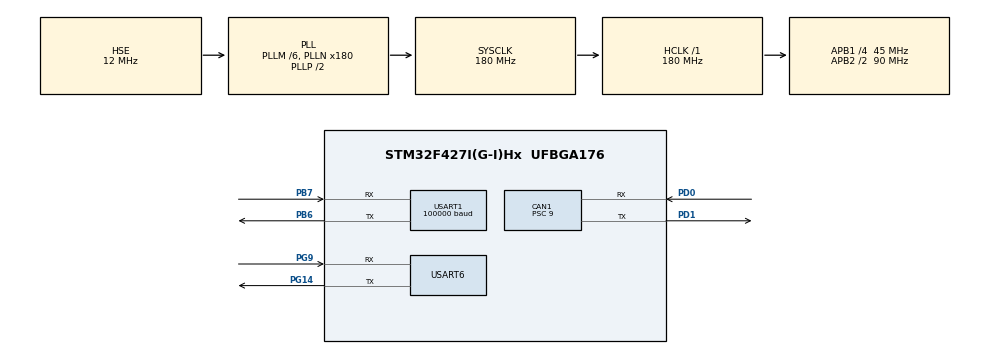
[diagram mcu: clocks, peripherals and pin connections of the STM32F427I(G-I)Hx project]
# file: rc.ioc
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CAN1.BS1=CAN_BS1_3TQ
CAN1.CalculateBaudRate=1000000
CAN1.CalculateTimeBit=1000.00
CAN1.CalculateTimeQuantum=200.0
CAN1.Prescaler=9
Dma.Request0=USART1_RX
Dma.USART1_RX.0.Direction=DMA_PERIPH_TO_MEMORY
Dma.USART1_RX.0.FIFOMode=DMA_FIFOMODE_DISABLE
Dma.USART1_RX.0.Instance=DMA2_Stream2
Dma.USART1_RX.0.MemDataAlignment=DMA_MDATAALIGN_BYTE
Dma.USART1_RX.0.MemInc=DMA_MINC_ENABLE
Dma.USART1_RX.0.Mode=DMA_NORMAL
Dma.USART1_RX.0.PeriphDataAlignment=DMA_PDATAALIGN_BYTE
Dma.USART1_RX.0.PeriphInc=DMA_PINC_DISABLE
Dma.USART1_RX.0.Priority=DMA_PRIORITY_LOW
Mcu.Family=STM32F4
Mcu.Name=STM32F427I(G-I)Hx
Mcu.Package=UFBGA176
NVIC.CAN1_RX0_IRQn=true\:0\:0\:false\:false\:true\:true\:true
NVIC.DMA2_Stream2_IRQn=true\:0\:0\:false\:false\:true\:false\:true
NVIC.PriorityGroup=NVIC_PRIORITYGROUP_4
NVIC.USART1_IRQn=true\:0\:0\:false\:false\:true\:true\:true
NVIC.USART6_IRQn=true\:0\:0\:false\:false\:true\:true\:true
PA13.Mode=Serial_Wire
PA13.Signal=SYS_JTMS-SWDIO
PA14.Mode=Serial_Wire
PA14.Signal=SYS_JTCK-SWCLK
PB6.Mode=Asynchronous
PB6.Signal=USART1_TX
PB7.Mode=Asynchronous
PB7.Signal=USART1_RX
PD0.Mode=CAN_Activate
PD0.Signal=CAN1_RX
PD1.Mode=CAN_Activate
PD1.Signal=CAN1_TX
PG14.Mode=Asynchronous
PG14.Signal=USART6_TX
PG9.Mode=Asynchronous
PG9.Signal=USART6_RX
PH0/OSC_IN.Mode=HSE-External-Oscillator
PH0/OSC_IN.Signal=RCC_OSC_IN
PH1/OSC_OUT.Mode=HSE-External-Oscillator
PH1/OSC_OUT.Signal=RCC_OSC_OUT
ProjectManager.HeapSize=0x200
ProjectManager.StackSize=0x400
ProjectManager.TargetToolchain=MDK-ARM V5.27
RCC.48MHZClocksFreq_Value=90000000
RCC.AHBFreq_Value=180000000
RCC.APB1CLKDivider=RCC_HCLK_DIV4
RCC.APB1Freq_Value=45000000
RCC.APB1TimFreq_Value=90000000
RCC.APB2CLKDivider=RCC_HCLK_DIV2
RCC.APB2Freq_Value=90000000
RCC.APB2TimFreq_Value=180000000
RCC.CortexFreq_Value=180000000
RCC.HCLKFreq_Value=180000000
RCC.HSE_VALUE=12000000
RCC.HSI_VALUE=16000000
RCC.LSE_VALUE=32768
RCC.PLLM=6
RCC.PLLN=180
RCC.PLLSourceVirtual=RCC_PLLSOURCE_HSE
RCC.SYSCLKFreq_VALUE=180000000
RCC.SYSCLKSource=RCC_SYSCLKSOURCE_PLLCLK
RCC.VCOOutputFreq_Value=360000000
USART1.BaudRate=100000
USART1.Parity=PARITY_EVEN
USART1.VirtualMode=VM_ASYNC
USART1.WordLength=WORDLENGTH_9B
USART6.VirtualMode=VM_ASYNC
board=custom

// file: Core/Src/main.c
/* USER CODE BEGIN Header */
/**
  ******************************************************************************
  * @file           : main.c
  * @brief          : Main program body
  ******************************************************************************
  * @attention
  *
  * <h2><center>&copy; Copyright (c) 2021 STMicroelectronics.
  * All rights reserved.</center></h2>
  *
  * This software component is licensed by ST under BSD 3-Clause license,
  * the "License"; You may not use this file except in compliance with the
  * License. You may obtain a copy of the License at:
  *                        opensource.org/licenses/BSD-3-Clause
  *
  ******************************************************************************
  */
/* USER CODE END Header */
#include "main.h"
#include "can.h"
#include "dma.h"
#include "usart.h"
#include "gpio.h"

/* USER CODE BEGIN Includes */
#include "pid.h"
#include "math.h"
#include "stdlib.h"
#include "stdio.h"

/* USER CODE END Includes */

/* USER CODE BEGIN PV */

int Angle_P = 5630, T_Speed = 0;

RC_Ctl_t RC_CtrlData = {
	.rc = {
		.ch1 = 1024,
		.ch0 = 1024,
		.ch2 = 1024,
	}
};

fp32 speed_pid_parameters1[] = {13,1,0};
fp32 speed_pid_parameters2[] = {13,1,0};
fp32 speed_pid_parameters3[] = {13,1,0};
fp32 speed_pid_parameters4[] = {13,1,0};
fp32 angle_pid_parametersx[] = {0.5,0,0.05};//ң������6020����PID
fp32 speed_pid_parametersx[] = {190,10,0};//ң������6020����PID
fp32 angle_pid_parameters_a[] = {10,0,0};//6020�͵��̽ǶȻ�
																				//���ܸ�����������һֱ��ƫ��Ȼ��һֱת

uint8_t receive_buff[255];
uint32_t uw_Tick;
RC rc_move;
int16_t Output1,Output2,Output3,Output4,s1,s2,s3,s4;

/* USER CODE END PV */

void SystemClock_Config(void);

int main(void)
{
  /* USER CODE BEGIN 1 */
	s1 = (RC_CtrlData.rc.ch0-1024)*2 * 3 +(RC_CtrlData.rc.ch1-1024)*2 * 3;
	s2 = (RC_CtrlData.rc.ch0-1024)*2 * -3 +(RC_CtrlData.rc.ch1-1024)*2 * 3;
	s3 = (RC_CtrlData.rc.ch0-1024)*2 * -3 +(RC_CtrlData.rc.ch1-1024)*2 * -3;
	s4 = (RC_CtrlData.rc.ch0-1024)*2 * 3 +(RC_CtrlData.rc.ch1-1024)*2 * -3;
  /* USER CODE END 1 */

  /* MCU Configuration--------------------------------------------------------*/

  /* Reset of all peripherals, Initializes the Flash interface and the Systick. */
  HAL_Init();

  /* Configure the system clock */
  SystemClock_Config();

  /* Initialize all configured peripherals */
  MX_GPIO_Init();
  MX_DMA_Init();
  MX_USART1_UART_Init();
  MX_CAN1_Init();
  MX_USART6_UART_Init();
  /* USER CODE BEGIN 2 */
	uw_Tick = HAL_GetTick();
	Pid_Init();
	USER_CAN_Start();
	__HAL_UART_ENABLE_IT(&huart1, UART_IT_IDLE);
	HAL_UART_Receive_DMA(&huart1, (uint8_t*)receive_buff, 255);

  /* USER CODE END 2 */

  /* Infinite loop */
  while (1)
  {

    /* USER CODE BEGIN 3 */
		slope();
		Motor_Begin();
		pid();
		PID_Calc(&angle_pid, motor_x.MechDegree, (1024 - RC_CtrlData.rc.ch2) + 5630);
		//PID_Calc(&Angle_pid, motor_y.MechDegree, Angle_Y);
		//criticality();//�Ƕ��ٽ�
	  PID_Calc(&speed_pid, motor_x.Speed, angle_pid.out);
		//PID_Calc(&Speed_pid, motor_y.Speed, Angle_pid.out);
		if(HAL_GetTick() - uw_Tick > 50)//���ң��������80ms��ֵ��ʼֵ
		{
			RC_CtrlData.rc.ch0 = 1024;
			RC_CtrlData.rc.ch1 = 1024;
			RC_CtrlData.rc.ch2 = 1024;
		}
		GM_SetCurrent(0x1FF,speed_pid.out,0,0,0);
		PID_Calc(&a_pid, motor_x.MechDegree, Angle_P);
		GM_SetCurrent(0x200,Output1,Output2,Output3,Output4);
		//PID_Calc(&s_pid, motor_x.Speed, 0);
		//GM_SetCurrent(0x1FF,s_pid.out,0,0,0);
		printf("%f,%f,%f,%f,%f,%f\n",(double)motor_1.Speed,(double)motor_2.Speed,(double)motor_3.Speed,
						(double)motor_4.Speed,(double)T_Speed,(double)motor_x.MechDegree);
		HAL_Delay(1);
  }
  /* USER CODE END 3 */
}

void SystemClock_Config(void)
{
  RCC_OscInitTypeDef RCC_OscInitStruct = {0};
  RCC_ClkInitTypeDef RCC_ClkInitStruct = {0};

  /** Configure the main internal regulator output voltage
  */
  __HAL_RCC_PWR_CLK_ENABLE();
  __HAL_PWR_VOLTAGESCALING_CONFIG(PWR_REGULATOR_VOLTAGE_SCALE1);
  /** Initializes the RCC Oscillators according to the specified parameters
  * in the RCC_OscInitTypeDef structure.
  */
  RCC_OscInitStruct.OscillatorType = RCC_OSCILLATORTYPE_HSE;
  RCC_OscInitStruct.HSEState = RCC_HSE_ON;
  RCC_OscInitStruct.PLL.PLLState = RCC_PLL_ON;
  RCC_OscInitStruct.PLL.PLLSource = RCC_PLLSOURCE_HSE;
  RCC_OscInitStruct.PLL.PLLM = 6;
  RCC_OscInitStruct.PLL.PLLN = 180;
  RCC_OscInitStruct.PLL.PLLP = RCC_PLLP_DIV2;
  RCC_OscInitStruct.PLL.PLLQ = 4;
  if (HAL_RCC_OscConfig(&RCC_OscInitStruct) != HAL_OK)
  {
    Error_Handler();
  }
  /** Activate the Over-Drive mode
  */
  if (HAL_PWREx_EnableOverDrive() != HAL_OK)
  {
    Error_Handler();
  }
  /** Initializes the CPU, AHB and APB buses clocks
  */
  RCC_ClkInitStruct.ClockType = RCC_CLOCKTYPE_HCLK|RCC_CLOCKTYPE_SYSCLK
                              |RCC_CLOCKTYPE_PCLK1|RCC_CLOCKTYPE_PCLK2;
  RCC_ClkInitStruct.SYSCLKSource = RCC_SYSCLKSOURCE_PLLCLK;
  RCC_ClkInitStruct.AHBCLKDivider = RCC_SYSCLK_DIV1;
  RCC_ClkInitStruct.APB1CLKDivider = RCC_HCLK_DIV4;
  RCC_ClkInitStruct.APB2CLKDivider = RCC_HCLK_DIV2;

  if (HAL_RCC_ClockConfig(&RCC_ClkInitStruct, FLASH_LATENCY_5) != HAL_OK)
  {
    Error_Handler();
  }
}

/* USER CODE BEGIN 4 */
void Motor_Begin()
{
	rc_move.motor1 = s1 + a_pid.out;
	rc_move.motor2 = s2 + a_pid.out;
	rc_move.motor3 = s3 + a_pid.out;
	rc_move.motor4 = s4 + a_pid.out;
  //rc_move.motor1 = s1 + (RC_CtrlData.rc.ch2-1024) * 3;
	//rc_move.motor2 = s1 + (RC_CtrlData.rc.ch2-1024) * 3;
	//rc_move.motor3 = s3 + (RC_CtrlData.rc.ch2-1024) * 3;
	//rc_move.motor4 = s4 + (RC_CtrlData.rc.ch2-1024) * 3;
}
void criticality()
{
	if(Angle_P - motor_x.MechDegree > 4096)
		 {
			 angle_pid.out = Angle_P - motor_x.MechDegree - 8192;
		 }
		 else if (Angle_P - motor_x.MechDegree < -4096)
		 {
				 angle_pid.out = Angle_P - motor_x.MechDegree + 8192;
		 }
		 else
		 {
				 angle_pid.out = Angle_P - motor_x.MechDegree ;
		 }
}
void slope()
{
	//����
	if(s1 - ((RC_CtrlData.rc.ch0-1024)*2 * 3 +(RC_CtrlData.rc.ch1-1024)*2 * 3) < 0)
	{
		if(s1 - ((RC_CtrlData.rc.ch0-1024)*2 * 3 +(RC_CtrlData.rc.ch1-1024)*2 * 3) >= -80)
		{
			s1 = (RC_CtrlData.rc.ch0-1024)*2 * 3 +(RC_CtrlData.rc.ch1-1024)*2 * 3;
		}
		else
		{
			s1 += 80;
		}
	}
	if(s1 - ((RC_CtrlData.rc.ch0-1024)*2 * 3 +(RC_CtrlData.rc.ch1-1024)*2 * 3) > 0)
	{
		if(s1 - ((RC_CtrlData.rc.ch0-1024)*2 * 3 +(RC_CtrlData.rc.ch1-1024)*2 * 3) <= 80)
		{
			s1 = (RC_CtrlData.rc.ch0-1024)*2 * 3 +(RC_CtrlData.rc.ch1-1024)*2 * 3;
		}
		else
		{
			s1 -= 80;
		}
	}
	if(s2 - ((RC_CtrlData.rc.ch0-1024)*2 * -3 +(RC_CtrlData.rc.ch1-1024)*2 * 3) < 0)
	{
		if(s2 - ((RC_CtrlData.rc.ch0-1024)*2 * -3 +(RC_CtrlData.rc.ch1-1024)*2 * 3) >= -80)
		{
			 s2 = (RC_CtrlData.rc.ch0-1024)*2 * -3 +(RC_CtrlData.rc.ch1-1024)*2 * 3;
		}
		else
		{
			s2 += 80;
		}
	}
	if(s2 - ((RC_CtrlData.rc.ch0-1024)*2 * -3 +(RC_CtrlData.rc.ch1-1024)*2 * 3) > 0)
	{
		if(s2 - ((RC_CtrlData.rc.ch0-1024)*2 * -3 +(RC_CtrlData.rc.ch1-1024)*2 * 3) <= 80)
		{
			s2 = (RC_CtrlData.rc.ch0-1024)*2 * -3 +(RC_CtrlData.rc.ch1-1024)*2 * 3;
		}
		else
		{
			s2 -= 80;
		}
	}
	if(s3 - ((RC_CtrlData.rc.ch0-1024)*2 * -3 +(RC_CtrlData.rc.ch1-1024)*2 * -3) < 0)
	{
		if(s3 - ((RC_CtrlData.rc.ch0-1024)*2 * -3 +(RC_CtrlData.rc.ch1-1024)*2 * -3) >= -80)
		{
			s3 = (RC_CtrlData.rc.ch0-1024)*2 * -3 +(RC_CtrlData.rc.ch1-1024)*2 * -3;
		}
		else
		{
			s3 += 80;
		}
	}
	if(s3 - ((RC_CtrlData.rc.ch0-1024)*2 * -3 +(RC_CtrlData.rc.ch1-1024)*2 * -3) > 0)
	{
		if(s3 - ((RC_CtrlData.rc.ch0-1024)*2 * -3 +(RC_CtrlData.rc.ch1-1024)*2 * -3) <= 80)
		{
			s3 = (RC_CtrlData.rc.ch0-1024)*2 * -3 +(RC_CtrlData.rc.ch1-1024)*2 * -3;
		}
		else
		{
			s3 -= 80;
		}
	}
	if(s4 - ((RC_CtrlData.rc.ch0-1024)*2 * 3 +(RC_CtrlData.rc.ch1-1024)*2 * -3) < 0)
	{
		if(s4 - ((RC_CtrlData.rc.ch0-1024)*2 * 3 +(RC_CtrlData.rc.ch1-1024)*2 * -3) >= -80)
		{
			s4 = (RC_CtrlData.rc.ch0-1024)*2 * 3 +(RC_CtrlData.rc.ch1-1024)*2 * -3;
		}
		else
		{
			s4 += 80;
		}
	}
	if(s4 - ((RC_CtrlData.rc.ch0-1024)*2 * 3 +(RC_CtrlData.rc.ch1-1024)*2 * -3) > 0)
	{
		if(s4 - ((RC_CtrlData.rc.ch0-1024)*2 * 3 +(RC_CtrlData.rc.ch1-1024)*2 * -3) <= 80)
		{
			s4 = (RC_CtrlData.rc.ch0-1024)*2 * 3 +(RC_CtrlData.rc.ch1-1024)*2 * -3;
		}
		else
		{
			s4 -= 80;
		}
	}
}

void RemoteDataProcess(uint8_t *pData)
{
 if(pData == NULL)
 {
		return;
 }

 RC_CtrlData.rc.ch0 = ((int16_t)pData[0] | ((int16_t)pData[1] << 8)) & 0x07FF;
 RC_CtrlData.rc.ch1 = (((int16_t)pData[1] >> 3) | ((int16_t)pData[2] << 5))
& 0x07FF;
 RC_CtrlData.rc.ch2 = (((int16_t)pData[2] >> 6) | ((int16_t)pData[3] << 2) |
 ((int16_t)pData[4] << 10)) & 0x07FF;
 RC_CtrlData.rc.ch3 = (((int16_t)pData[4] >> 1) | ((int16_t)pData[5]<<7)) &
0x07FF;

 RC_CtrlData.rc.s1 = ((pData[5] >> 4) & 0x000C) >> 2;
 RC_CtrlData.rc.s2 = ((pData[5] >> 4) & 0x0003);
 RC_CtrlData.mouse.x = ((int16_t)pData[6]) | ((int16_t)pData[7] << 8);
 RC_CtrlData.mouse.y = ((int16_t)pData[8]) | ((int16_t)pData[9] << 8);
 RC_CtrlData.mouse.z = ((int16_t)pData[10]) | ((int16_t)pData[11] << 8);
 RC_CtrlData.mouse.press_l = pData[12];
 RC_CtrlData.mouse.press_r = pData[13];
 RC_CtrlData.key.v = ((int16_t)pData[14]);// | ((int16_t)pData[15] << 8);
 //your control code ��.
}
int fputc(int ch, FILE *f)
{
	HAL_UART_Transmit(&huart6,(uint8_t *)&ch,1,HAL_MAX_DELAY);
	return ch;
}
/* USER CODE END 4 */

void Error_Handler(void)
{
  __disable_irq();
  while (1)
  {
  }
}

/************************ (C) COPYRIGHT STMicroelectronics *****END OF FILE****/
